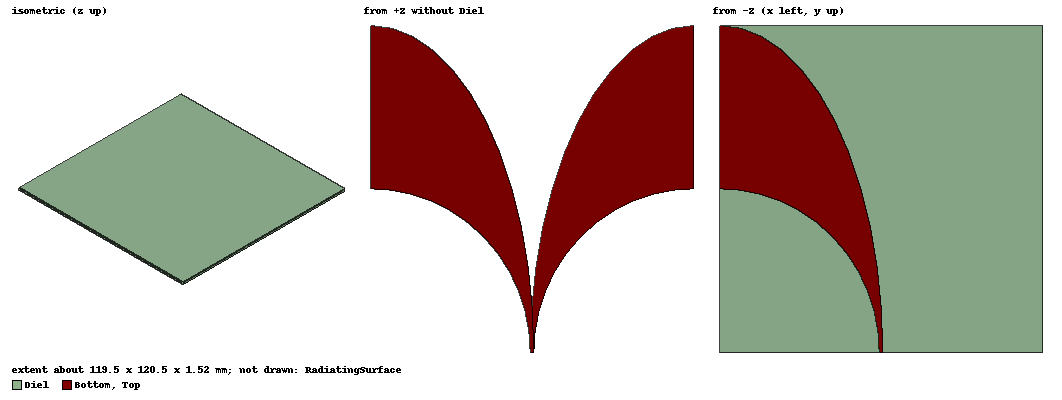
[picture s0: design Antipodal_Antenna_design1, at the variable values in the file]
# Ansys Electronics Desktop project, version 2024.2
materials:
  Rogers RT/duroid 5880 (tm): permittivity=2.2 dielectric_loss_tangent=0.0009
  vacuum: permittivity=1

design Antipodal_Antenna_design1 (HFSS, HFSS Terminal Network, model units mm)
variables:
  w_ground = 40mm
  l_ground = 40mm
  t = 0.035mm
  w_diel = 2*(a1-w_feed/2)
  l_diel = a1*b1/a1
  t_diel = 1.52mm
  a1 = 60mm
  w_feed = 1.3mm
  b1 = 120mm
  a2 = a1-w_feed
  b2 = 60mm
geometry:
  Diel [Rogers RT/duroid 5880 (tm)] = box(corner=(-w_diel/2, 0, 0mm), size=(w_diel, l_diel, t_diel))
  Bottom = ellipse(normal=Z, centre=(a1-w_feed/2, 0, 0mm), major_radius=a1, ratio=b1/a1)
  Ellipse2 = ellipse(normal=Z, centre=(a1-w_feed/2, 0, 0mm), major_radius=a2, ratio=b2/a2)
  Bottom.subtract(Ellipse2)
  Rectangle1 = rectangle(corner=(a1-w_feed/2, -2*a1, 0mm), x_size=a1*2, y_size=4*a1)
  Rectangle2 = rectangle(corner=(-4*a1, -2*a1, 0mm), x_size=8*a1, y_size=2*a1)
  Bottom.subtract(Rectangle1, Rectangle2)
  Top = Bottom.duplicate_mirror(point=(0mm, 0mm, 0mm), normal=(1mm, 0mm, 0mm))
  Top.move(0mm, 0mm, 1.28mm)
  Feed = rectangle(corner=(-w_feed/2, 0mm, 0mm), z_size=t_diel, x_size=w_feed)
  RadiatingSurface [vacuum] = region(absolute_offset=20mm on all sides)
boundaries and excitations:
  PerfE1: Perfect E Objects=[Bottom, Top]
  Open1: Radiation Objects=RadiatingSurface
  1: Lumped Port Objects=Feed LumpedPortType=Modal Modes{Mode1{IntLine{(0, 0, 0) -> (0, 0, 1.52)} CharImp=Zpi}} Impedance=50ohm
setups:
  Setup1: HfssDriven Frequency=5GHz MaxDeltaS=0.02 MaximumPasses=12 MinimumPasses=1 MinimumConvergedPasses=1 PercentRefinement=30 BasisOrder=1 PortAccuracy=2 DrivenSolverType="Direct Solver"
    sweep Sweep: 2.3GHz to 7.5GHz, 201 points; Type=Interpolating InterpTolerance=0.5 InterpMaxSolns=250 PassivityErrorTolerance=0.0001
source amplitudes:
  1:1: 1V 0deg
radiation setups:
  3D: Infinite Sphere Theta=-180deg..180deg step 2deg Phi=-180deg..180deg step 2deg
  Elevation: Infinite Sphere Theta=-180deg..180deg step 1deg Phi=0deg..90deg step 90deg
  Azimuth: Infinite Sphere Theta=90deg..90deg step 0deg Phi=-180deg..180deg step 1deg
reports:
  11 db gain: dB(GainTotal) vs Phi, Theta on Setup1 : LastAdaptive, 3D [Freq=5GHz a1=60mm b1=120mm b2=60mm]
  11dB s11plot: dB(St(1,1)) vs Freq on Setup1 : Sweep [a1=60mm b1=120mm b2=60mm]
  Gain Plot 28: dB(GainTotal) vs Phi, Theta on Setup1 : LastAdaptive, 3D [Freq=5GHz]
  11.39dB s11 plot rogers 5880: dB(St(1,1)) vs Freq on Setup1 : Sweep
  11.39 dB gain rogers 5880: dB(GainTotal) vs Phi, Theta on Setup1 : LastAdaptive, 3D [Freq=5GHz]
